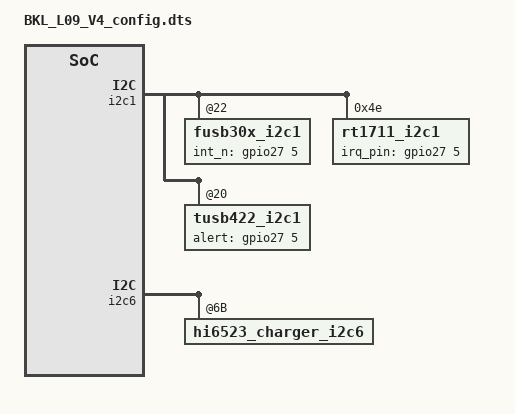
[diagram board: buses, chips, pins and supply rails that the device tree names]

/**
 * Copyright (C) 2014 Hisilicon Ltd.
 *
 *  This program is free software; you can redistribute it and/or modify
 *  it under the terms of the GNU General Public License version 2 as
 *  publishhed by the Free Software Foundation.
 */

/dts-v1/;
/include/ "fastboot.dtsi"
/include/ "BKL_L09_V3_config.dtsi"
/include/ "BKL_L09_V4_pin.dtsi"
/include/ "BKL_L09_V4_sec_pin.dtsi"
/include/ "BKL_L09_V4_modem_pin.dtsi"

/ {
	hisi,boardid = <6 9 9 2>;
	hisi,boardname = "BKL_L09_V4";
	hisi,modem_id = <0x39603800>;
	hisi,product_name = "BKL-L09";

	fastboot_charger:fastboot_charger {
		fastboot_single_phase_buck = <0>;
		status = "ok";
	};

	hisi_usb: hisi_usb@ff200000 {
		dwc3@ff100000 {
			maximum-speed = "high-speed";
		};
	};

	pd_dpm: pd_dpm {
		status = "ok";
	};

	charging_core: charging_core {
		status = "ok";
		ichg_fcp = <3400>;
		iin_fcp = <2000>;
		ichg_ac = <2100>;
		iin_ac = <2000>;
	};

	amba {
		i2c1: i2c@FFD72000 {
			fusb30x_i2c1@22 {
				status = "ok";
				fairchild,int_n = <&gpio27 5 0>;
			};
			rt1711_i2c1@4e {
				reg = <0x4e>;
				status = "ok";
				rt1711,irq_pin = <&gpio27 5 0>;
			};
			tusb422_i2c1@20 {
				status = "ok";
				ti,alert-gpio = <&gpio27 5 0>;
			};
		};
		i2c4: i2c@FDF0D000 {
			/delete-node/ fusb30x_i2c4@22;
			/delete-node/ tusb422_i2c4@20;
			/delete-node/ rt1711_i2c4@4e;
			tusb320_typec:typec@47{
					reg = <0x47>;
					tusb320_typec,gpio_enb = <&gpio1 2 0>;
					tusb320_typec,gpio_intb = <&gpio27 5 0>;
					tusb320_gpio_enb = <1>;
					typec_trigger_otg = <1>;
					tusb320_mdelay = <50>;
					status = "disabled";
			};
			fusb301_typec: typec@21 {
					reg = <0x21>;
					fusb301_typec,gpio_enb = <&gpio1 2 0>;
					fusb301_typec,gpio_intb = <&gpio27 5 0>;
					fusb301_gpio_enb = <1>;
					typec_trigger_otg = <1>;
					status = "disabled";
			};
			pericom30216_typec: typec@1d {
					reg = <0x1d>;
					pericom30216_typec,gpio_enb = <&gpio1 2 0>;
					pericom30216_typec,gpio_intb = <&gpio27 5 0>;
					pericom30216_gpio_enb = <1>;
					typec_trigger_otg = <1>;
					pericom30216_mdelay = <50>;
					status = "disabled";
			};
			ptn5150h_typec: typec@1E {
					reg = <0x1e>;
					ptn5150h_typec,gpio_enb = <&gpio1 2 0>;
					ptn5150h_typec,gpio_intb = <&gpio27 5 0>;
					ptn5150h_gpio_enb = <1>;
					typec_trigger_otg = <1>;
					status = "disabled";
			};
		};

		i2c6: i2c@FFD6A000 {
			hi6523_charger_i2c6: hi6523_charger_i2c6@6B{
				status = "ok";
				single_phase_buck = <0>;
			};
		};
	};
};
